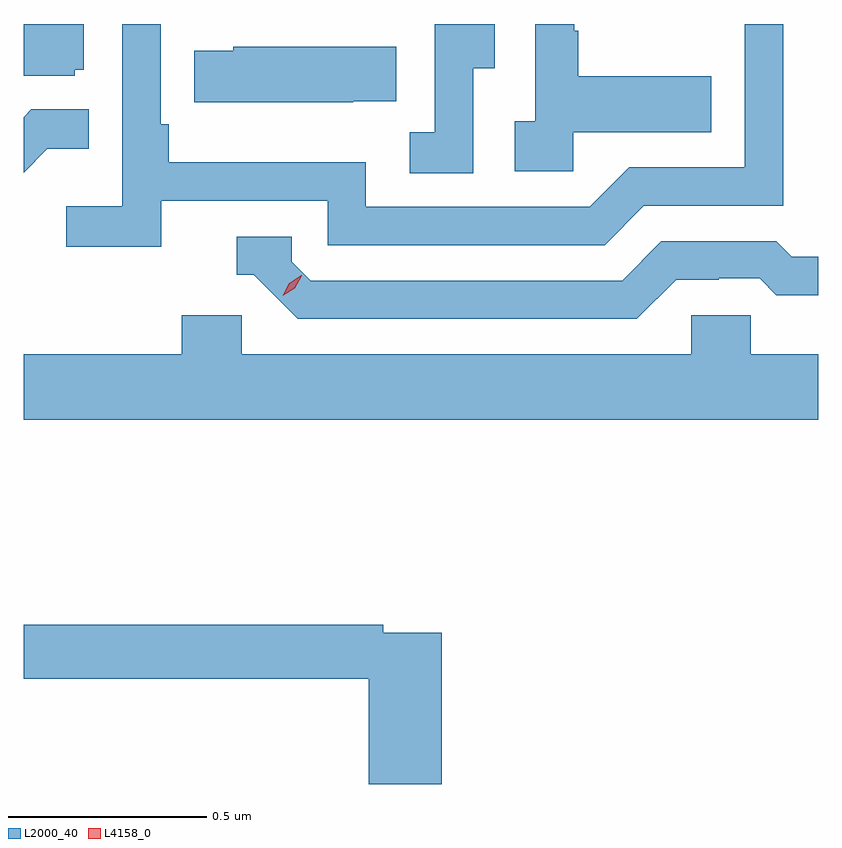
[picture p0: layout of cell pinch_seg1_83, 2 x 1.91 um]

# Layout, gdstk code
import gdstk
lib = gdstk.Library(unit=1e-6, precision=1e-09)
def P(c, l, *ps):  # polygons
    for p in ps: c.add(gdstk.Polygon(p, *l))
L2000_40 = (2000, 40)
L4158_0 = (4158, 0)

pinch_seg1_83 = lib.new_cell('pinch_seg1_83')
P(pinch_seg1_83, L2000_40, [(1061.024,576.258),(1061.442,576.258),(1061.442,576.147),(1062.139,576.147),(1062.238,576.246),(1062.588,576.246),(1062.588,576.703),(1062.492,576.703),(1062.492,576.342),(1062.201,576.342),(1062.102,576.243),(1061.538,576.243),(1061.538,576.355),(1061.042,576.355),(1061.042,576.451),(1061.022,576.451),(1061.022,576.703),(1060.926,576.703),(1060.926,576.244),(1060.785,576.244),(1060.785,576.142),(1061.024,576.142)],
  [(1062.06,576.431),(1062.407,576.431),(1062.407,576.571),(1062.073,576.571),(1062.073,576.686),(1062.063,576.686),(1062.063,576.703),(1061.964,576.703),(1061.964,576.458),(1061.913,576.458),(1061.913,576.333),(1062.06,576.333)],
  [(1061.808,576.592),(1061.863,576.592),(1061.863,576.703),(1061.712,576.703),(1061.712,576.431),(1061.649,576.431),(1061.649,576.328),(1061.808,576.328)],
  [(1060.806,576.588),(1060.828,576.588),(1060.828,576.703),(1060.677,576.703),(1060.677,576.573),(1060.806,576.573)],
  [(1061.507,576.509),(1061.615,576.509),(1061.615,576.646),(1061.205,576.646),(1061.205,576.636),(1061.107,576.636),(1061.107,576.506),(1061.507,576.506)],
  [(1060.737,576.389),(1060.841,576.389),(1060.841,576.488),(1060.697,576.488),(1060.677,576.468),(1060.677,576.329)],
  [(1062.319,576.06),(1062.426,576.06),(1062.426,576.063),(1062.529,576.063),(1062.571,576.021),(1062.677,576.021),(1062.677,576.117),(1062.61,576.117),(1062.571,576.156),(1062.282,576.156),(1062.183,576.057),(1061.4,576.057),(1061.352,576.105),(1061.352,576.168),(1061.213,576.168),(1061.213,576.072),(1061.256,576.072),(1061.367,575.961),(1062.22,575.961)],
  [(1062.677,575.872),(1062.507,575.872),(1062.507,575.97),(1062.357,575.97),(1062.357,575.872),(1061.226,575.872),(1061.226,575.97),(1061.075,575.97),(1061.075,575.872),(1060.677,575.872),(1060.677,575.708),(1062.677,575.708)],
  [(1061.729,575.172),(1061.582,575.172),(1061.582,575.192),(1060.677,575.192),(1060.677,575.056),(1061.546,575.056),(1061.546,574.791),(1061.729,574.791)])
P(pinch_seg1_83, L4158_0, [(1061.329,576.019),(1061.329,576.019),(1061.345,576.051),(1061.376,576.071),(1061.377,576.071),(1061.377,576.07),(1061.36,576.038),(1061.329,576.019)])

lib.write_gds('pinch_seg1_83.gds')
